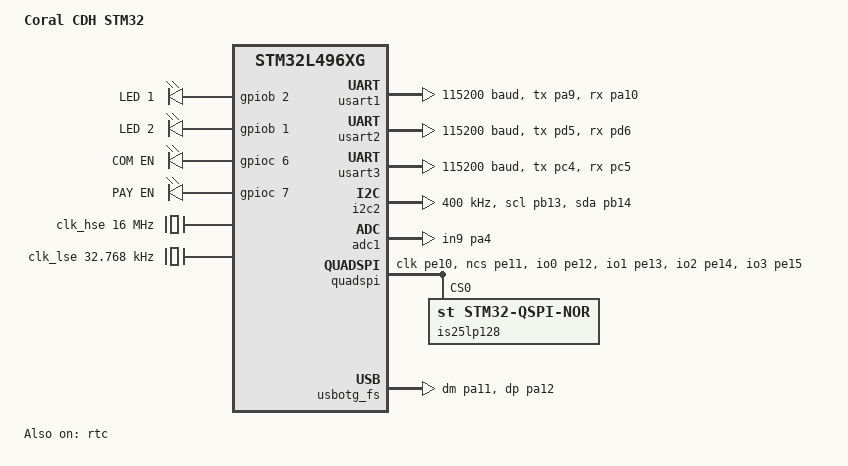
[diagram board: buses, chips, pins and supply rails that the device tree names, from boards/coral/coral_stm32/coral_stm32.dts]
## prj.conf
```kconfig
# USB CDC ACM console
CONFIG_USB_DEVICE_STACK=y
CONFIG_USB_CDC_ACM=y
CONFIG_UART_CONSOLE=n

# USB Virtual COM Port Identity
CONFIG_USB_DEVICE_PRODUCT="Coral CDH Flight Board"
CONFIG_USB_DEVICE_VID=0x1209
CONFIG_USB_DEVICE_PID=0x0001


# Flash
CONFIG_FLASH=y
CONFIG_FLASH_MAP=y
CONFIG_FLASH_PAGE_LAYOUT=y
CONFIG_FLASH_JESD216_API=y
CONFIG_FLASH_STM32_QSPI=y

# UART
CONFIG_SERIAL=y
CONFIG_UART_STM32=y
CONFIG_UART_INTERRUPT_DRIVEN=y
CONFIG_RING_BUFFER=y

# CRC
CONFIG_CRC=y
```

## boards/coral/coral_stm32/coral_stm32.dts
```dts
/dts-v1/;

#include <st/l4/stm32l496Xg.dtsi>
/* Using your original package's pinctrl header to ensure pin availability */
#include <st/l4/stm32l496a(e-g)ix-pinctrl.dtsi>
#include <zephyr/dt-bindings/input/input-event-codes.h>

/ {
    model = "Coral CDH STM32";
    compatible = "coral,stm32";

    chosen {
        /* Routing the console and shell over the USB-C Virtual COM Port */
        zephyr,console = &cdc_acm_uart0;
        zephyr,shell-uart = &cdc_acm_uart0;
        zephyr,uart-mcumgr = &cdc_acm_uart0;
        zephyr,sram = &sram0;
        zephyr,flash = &flash0;
    };

    aliases {
        led0 = &led_1;
        led1 = &led_2;
        com-en = &com_en;
        pay-en = &pay_en;
        
        /* Your explicit UART mapping */
        uart-0 = &cdc_acm_uart0;
        uart-1 = &usart1;
        uart-2 = &usart2;
        uart-3 = &usart3;
        watchdog0 = &iwdg;
    };

    /* Merged your LEDs and EN lines */
    leds {
        compatible = "gpio-leds";
        led_1: led_1 {
            gpios = <&gpiob 2 GPIO_ACTIVE_HIGH>;
            label = "LED 1";
        };
        led_2: led_2 {
            gpios = <&gpiob 1 GPIO_ACTIVE_HIGH>;
            label = "LED 2";
        };
        com_en: com_en {
            gpios = <&gpioc 6 GPIO_ACTIVE_HIGH>;
            label = "COM EN";
        };
        pay_en: pay_en {
            gpios = <&gpioc 7 GPIO_ACTIVE_HIGH>;
            label = "PAY EN";
        };
    };
};

/* --- CLOCK TREE --- */
&clk_hse {
    clock-frequency = <DT_FREQ_M(16)>;
    status = "okay";
};

&clk_lse {
    clock-frequency = <32768>;
    status = "okay";
};

&clk_hsi { status = "okay"; };
&clk_lsi { status = "okay"; };
&clk_hsi48 { status = "okay"; };

&pll {
    div-m = <2>;
    mul-n = <20>;
    div-p = <7>;
    div-q = <2>;
    div-r = <2>;
    clocks = <&clk_hse>;
    status = "okay";
};

// &pllsai1 {
//     div-m = <2>;
//     mul-n = <24>;
//     div-q = <4>;
//     clocks = <&clk_hse>;
//     status = "okay";
// };

&rcc {
    clocks = <&pll>;
    clock-frequency = <DT_FREQ_M(80)>;
    ahb-prescaler = <1>;
    apb1-prescaler = <1>;
    apb2-prescaler = <1>;
};

/* --- PERIPHERALS --- */
&usart1 {
    pinctrl-0 = <&usart1_tx_pa9 &usart1_rx_pa10>;
    pinctrl-names = "default";
    current-speed = <115200>;
    status = "okay";
};

&usart2 {
    pinctrl-0 = <&usart2_tx_pd5 &usart2_rx_pd6>;
    pinctrl-names = "default";
    current-speed = <115200>;
    status = "okay";
};

&usart3 {
    pinctrl-0 = <&usart3_tx_pc4 &usart3_rx_pc5>;
    pinctrl-names = "default";
    current-speed = <115200>;
    status = "okay";
};
&i2c2 {
    pinctrl-0 = <&i2c2_scl_pb13 &i2c2_sda_pb14>;
    pinctrl-names = "default";
    clock-frequency = <I2C_BITRATE_FAST>;
    status = "okay";
};

&rtc {
    clocks = <&rcc STM32_CLOCK(APB1, 28)>,
             <&rcc STM32_SRC_LSE RTC_SEL(1)>;
    status = "okay";
};

&adc1 {
    pinctrl-0 = <&adc1_in9_pa4>;
    pinctrl-names = "default";
    st,adc-clock-source = "SYNC";
    st,adc-prescaler = <4>;
    status = "okay";
};

&quadspi {
    pinctrl-0 = <&quadspi_clk_pe10 &quadspi_bk1_ncs_pe11
                 &quadspi_bk1_io0_pe12 &quadspi_bk1_io1_pe13
                 &quadspi_bk1_io2_pe14 &quadspi_bk1_io3_pe15>;
    pinctrl-names = "default";
    flash-id = <1>;
    status = "okay";

    is25lp128: qspi-nor-flash@0 {
        compatible = "st,stm32-qspi-nor";
        reg = <0>;
        size = <DT_SIZE_M(128)>;
        qspi-max-frequency = <40000000>;
        spi-bus-width = <4>;
        jedec-id = [9d 60 18];
        quad-enable-requirements = "S1B6";
        writeoc = "PP_1_1_4";
        status = "okay";
    };
};

/* --- USB VIRTUAL COM PORT --- */
&usbotg_fs {
    clocks = <&rcc STM32_CLOCK(AHB2, 12)>,
            <&rcc STM32_SRC_HSI48 CLK48_SEL(0)>;
    pinctrl-0 = <&usb_otg_fs_dm_pa11 &usb_otg_fs_dp_pa12>;
    pinctrl-names = "default";
    status = "okay";

    cdc_acm_uart0: cdc_acm_uart0 {
        compatible = "zephyr,cdc-acm-uart";
        current-speed = <115200>;
        
    };
};
```

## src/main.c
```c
/*
 * CDH Image Demo — main.c
 *
 * Receives TAB/OpenLST framed image data over UART1 (hardware UART,
 * same pin as COM board interface), stores it to the IS25LP128 QSPI
 * flash payload region at 0x00115000, and can dump it back over UART1
 * for PC-side reconstruction.
 *
 * USB console (UART0) is used for status/debug printk only.
 * UART1 is the TAB data channel.
 */

#include <zephyr/kernel.h>
#include <zephyr/device.h>
#include <zephyr/drivers/gpio.h>
#include <zephyr/drivers/uart.h>
#include <zephyr/drivers/flash.h>
#include <zephyr/usb/usb_device.h>
#include <zephyr/sys/printk.h>

#include <string.h>
#include <stdbool.h>

/* ------------------------------------------------------------------ */
/*  Hardware                                                           */
/* ------------------------------------------------------------------ */

static const struct gpio_dt_spec led1 =
    GPIO_DT_SPEC_GET(DT_ALIAS(led0), gpios);

static const struct device *uart1;
static const struct device *flash_dev;

/* ------------------------------------------------------------------ */
/*  TAB framing constants                                              */
/* ------------------------------------------------------------------ */

#define TAB_SYNC0           0x22
#define TAB_SYNC1           0x69
#define TAB_CMD_IMG_START   0x51
#define TAB_CMD_IMG_CHUNK   0x50
#define TAB_CMD_IMG_END     0x52
#define TAB_CMD_IMG_REQ     0x53    /* PC requests readback            */
#define TAB_CMD_IMG_ACK     0x54    /* firmware ACK per chunk          */
#define TAB_MAX_MSG         320     /* max bytes in one TAB message    */
#define CHUNK_SIZE          64      /* image bytes per chunk           */

/* ------------------------------------------------------------------ */
/*  Flash layout                                                       */
/* ------------------------------------------------------------------ */

#define SECTOR_SIZE         4096u
#define PAYLOAD_BASE        0x00115000u
#define PAYLOAD_HDR_OFFSET  PAYLOAD_BASE
#define PAYLOAD_DATA_OFFSET (PAYLOAD_BASE + SECTOR_SIZE)
#define PAYLOAD_MAX_DATA    (63u * SECTOR_SIZE)  /* 63 sectors = 252KB */

#define HDR_MAGIC           0xDA7ADA7Au

typedef struct {
    uint32_t magic;
    uint32_t image_id;
    uint32_t total_size;
    uint32_t stored_size;
    uint32_t timestamp_ms;
    uint16_t chunks_total;
    uint16_t chunks_stored;
    uint8_t  format;        /* 0=raw 1=jpeg 2=png                     */
    uint8_t  complete;
    uint8_t  _pad[2];
    uint32_t crc32;
} img_hdr_t;

/* ------------------------------------------------------------------ */
/*  UART RX ring buffer                                                */
/* ------------------------------------------------------------------ */

#define RX_BUF_SIZE 512

static uint8_t  rx_buf[RX_BUF_SIZE];
static uint32_t rx_head = 0;
static uint32_t rx_tail = 0;

static void uart_cb(const struct device *dev, void *user_data)
{
    ARG_UNUSED(user_data);
    if (!uart_irq_update(dev)) return;
    while (uart_irq_rx_ready(dev)) {
        uint8_t c;
        if (uart_fifo_read(dev, &c, 1) == 1) {
            uint32_t next = (rx_head + 1) % RX_BUF_SIZE;
            if (next != rx_tail) {
                rx_buf[rx_head] = c;
                rx_head = next;
            }
        }
    }
}

static bool uart_read_byte(uint8_t *out, uint32_t timeout_ms)
{
    uint32_t deadline = k_uptime_get_32() + timeout_ms;
    while (k_uptime_get_32() < deadline) {
        if (rx_head != rx_tail) {
            *out = rx_buf[rx_tail];
            rx_tail = (rx_tail + 1) % RX_BUF_SIZE;
            return true;
        }
        k_msleep(1);
    }
    return false;
}

/* ------------------------------------------------------------------ */
/*  UART TX helpers                                                    */
/* ------------------------------------------------------------------ */

static void uart_send(const uint8_t *buf, size_t len)
{
    for (size_t i = 0; i < len; i++) {
        uart_poll_out(uart1, buf[i]);
    }
}

/* ------------------------------------------------------------------ */
/*  CRC-16/CCITT                                                       */
/* ------------------------------------------------------------------ */

static uint16_t tab_crc16(const uint8_t *buf, size_t len)
{
    uint16_t crc = 0xFFFF;
    for (size_t i = 0; i < len; i++) {
        crc ^= (uint16_t)buf[i] << 8;
        for (int b = 0; b < 8; b++) {
            crc = (crc & 0x8000) ? (crc << 1) ^ 0x1021 : (crc << 1);
        }
    }
    return crc;
}

/* ------------------------------------------------------------------ */
/*  Header helpers                                                     */
/* ------------------------------------------------------------------ */

static uint32_t hdr_crc(const img_hdr_t *h)
{
    uint32_t c = 0xFFFFFFFF;
    const uint8_t *p = (const uint8_t *)h;
    for (size_t i = 0; i < offsetof(img_hdr_t, crc32); i++) {
        c ^= p[i];
        for (int b = 0; b < 8; b++)
            c = (c & 1) ? (c >> 1) ^ 0xEDB88320 : c >> 1;
    }
    return c ^ 0xFFFFFFFF;
}

static int read_hdr(img_hdr_t *hdr)
{
    int rc = flash_read(flash_dev, PAYLOAD_HDR_OFFSET, hdr, sizeof(*hdr));
    if (rc != 0) return rc;
    if (hdr->magic == 0xFFFFFFFFu) return 1;   /* blank              */
    if (hdr->magic != HDR_MAGIC)   return -EBADMSG;
    if (hdr->crc32 != hdr_crc(hdr)) return -EILSEQ;
    return 0;
}

static int write_hdr(img_hdr_t *hdr)
{
    hdr->magic = HDR_MAGIC;
    hdr->crc32 = hdr_crc(hdr);
    int rc = flash_erase(flash_dev, PAYLOAD_HDR_OFFSET, SECTOR_SIZE);
    if (rc != 0) return rc;
    k_msleep(10);
    return flash_write(flash_dev, PAYLOAD_HDR_OFFSET, hdr, sizeof(*hdr));
}

/* ------------------------------------------------------------------ */
/*  TAB message receive — blocks until full message or timeout        */
/* ------------------------------------------------------------------ */

static int tab_receive(uint8_t *out, size_t out_max, uint32_t timeout_ms)
{
    uint8_t b;

    /* Hunt for sync bytes */
    while (true) {
        if (!uart_read_byte(&b, timeout_ms)) return -ETIMEDOUT;
        if (b != TAB_SYNC0) continue;
        if (!uart_read_byte(&b, 100))        return -ETIMEDOUT;
        if (b == TAB_SYNC0) continue;        /* double sync — retry  */
        if (b != TAB_SYNC1) continue;
        break;
    }

    out[0] = TAB_SYNC0;
    out[1] = TAB_SYNC1;

    /* Read length byte */
    if (!uart_read_byte(&b, 100)) return -ETIMEDOUT;
    out[2] = b;
    uint8_t inner_len = b;

    /* Total message = sync(2) + len(1) + inner_len + crc(2) */
    size_t total = 3u + inner_len + 2u;
    if (total > out_max) return -ENOMEM;

    /* Read remainder */
    for (size_t i = 3; i < total; i++) {
        if (!uart_read_byte(&out[i], 100)) return -ETIMEDOUT;
    }

    /* Verify CRC */
    uint16_t rx_crc  = (uint16_t)out[total - 2] |
                       ((uint16_t)out[total - 1] << 8);
    uint16_t calc_crc = tab_crc16(out + 2, total - 4);
    if (rx_crc != calc_crc) {
        printk("TAB RX: CRC fail rx=0x%04X calc=0x%04X\n",
               rx_crc, calc_crc);
        return -EBADMSG;
    }

    return (int)total;
}

/* ------------------------------------------------------------------ */
/*  Build and send a TAB ACK message                                  */
/* ------------------------------------------------------------------ */

static void tab_send_ack(uint16_t chunk_index, uint8_t status)
{
    uint8_t msg[16];
    /* inner: dst(2)+src(2)+seq(2)+cmd(1)+chunk_index(2)+status(1) = 10 */
    msg[0] = TAB_SYNC0;
    msg[1] = TAB_SYNC1;
    msg[2] = 10;                        /* len                        */
    msg[3] = 0x00; msg[4] = 0x02;      /* dst = payload (0x0002)     */
    msg[5] = 0x00; msg[6] = 0x01;      /* src = CDH    (0x0001)      */
    msg[7] = (uint8_t)(chunk_index);
    msg[8] = (uint8_t)(chunk_index >> 8);
    msg[9] = TAB_CMD_IMG_ACK;
    msg[10] = (uint8_t)(chunk_index);
    msg[11] = (uint8_t)(chunk_index >> 8);
    msg[12] = status;
    uint16_t crc = tab_crc16(msg + 2, 11);
    msg[13] = (uint8_t)(crc);
    msg[14] = (uint8_t)(crc >> 8);
    uart_send(msg, 15);
}

/* ------------------------------------------------------------------ */
/*  Process one received TAB message                                  */
/* ------------------------------------------------------------------ */

static int process_tab(const uint8_t *buf, size_t len)
{
    /* cmd byte is at offset 9 (after sync+len+dst+src+seq) */
    if (len < 12) return -EINVAL;
    uint8_t cmd = buf[9];

    /* data starts after cmd byte, ends before 2-byte CRC */
    const uint8_t *data = buf + 10;
    size_t data_len = len - 12;  /* total - sync(2) - len(1) - hdr(6) - cmd(1) - crc(2) */

    if (cmd == TAB_CMD_IMG_START) {
        /* data: image_id(4) + total_size(4) + chunk_size(2) + format(1) */
        if (data_len < 11) return -EINVAL;
        uint32_t image_id   = (uint32_t)data[0] | ((uint32_t)data[1] << 8) |
                              ((uint32_t)data[2] << 16) | ((uint32_t)data[3] << 24);
        uint32_t total_size = (uint32_t)data[4] | ((uint32_t)data[5] << 8) |
                              ((uint32_t)data[6] << 16) | ((uint32_t)data[7] << 24);
        uint16_t chunk_size = (uint16_t)data[8] | ((uint16_t)data[9] << 8);
        uint8_t  format     = data[10];

        /* Erase header + first data sector */
        flash_erase(flash_dev, PAYLOAD_HDR_OFFSET, SECTOR_SIZE);
        k_msleep(10);
        flash_erase(flash_dev, PAYLOAD_DATA_OFFSET, SECTOR_SIZE);
        k_msleep(10);

        img_hdr_t hdr = {
            .image_id      = image_id,
            .total_size    = total_size,
            .stored_size   = 0,
            .timestamp_ms  = (uint32_t)k_uptime_get(),
            .chunks_total  = (uint16_t)((total_size + chunk_size - 1) / chunk_size),
            .chunks_stored = 0,
            .format        = format,
            .complete      = 0,
        };
        int rc = write_hdr(&hdr);
        printk("IMG START id=0x%08X size=%u fmt=%u rc=%d\n",
               image_id, total_size, format, rc);
        tab_send_ack(0xFFFF, rc == 0 ? 0 : 1);
        return rc;
    }

    if (cmd == TAB_CMD_IMG_CHUNK) {
        /* data: image_id(4) + chunk_index(2) + chunk_data */
        if (data_len < 7) return -EINVAL;
        uint16_t chunk_idx = (uint16_t)data[4] | ((uint16_t)data[5] << 8);
        const uint8_t *chunk_data = data + 6;
        size_t chunk_data_len = data_len - 6;

        img_hdr_t hdr;
        if (read_hdr(&hdr) != 0) { tab_send_ack(chunk_idx, 2); return -ENODATA; }

        off_t write_off = PAYLOAD_DATA_OFFSET + hdr.stored_size;
        if (hdr.stored_size + chunk_data_len > PAYLOAD_MAX_DATA) {
            tab_send_ack(chunk_idx, 3);
            return -ENOSPC;
        }

        /* Erase sector if on boundary */
        if ((write_off % SECTOR_SIZE) == 0) {
            flash_erase(flash_dev, write_off, SECTOR_SIZE);
            k_msleep(5);
        }

        int rc = flash_write(flash_dev, write_off, chunk_data, chunk_data_len);
        if (rc != 0) { tab_send_ack(chunk_idx, 4); return rc; }

        hdr.stored_size   += chunk_data_len;
        hdr.chunks_stored += 1;
        write_hdr(&hdr);

        printk("CHUNK[%u] %u bytes @ 0x%08X (%u/%u)\n",
               chunk_idx, (unsigned)chunk_data_len,
               (unsigned)write_off, hdr.stored_size, hdr.total_size);
        tab_send_ack(chunk_idx, 0);
        return 0;
    }

    if (cmd == TAB_CMD_IMG_END) {
        img_hdr_t hdr;
        if (read_hdr(&hdr) != 0) return -ENODATA;
        hdr.complete = 1;
        int rc = write_hdr(&hdr);
        printk("IMG END — %u/%u bytes stored, complete=%d\n",
               hdr.stored_size, hdr.total_size, rc == 0);
        tab_send_ack(0xFFFE, rc == 0 ? 0 : 1);
        return rc;
    }

    if (cmd == TAB_CMD_IMG_REQ) {
        /* PC is requesting readback — stream all stored bytes back    */
        img_hdr_t hdr;
        int rc = read_hdr(&hdr);
        if (rc == 1) {
            printk("IMG REQ: no image stored\n");
            tab_send_ack(0xFFFD, 5);
            return -ENODATA;
        }
        if (rc != 0) {
            tab_send_ack(0xFFFD, 6);
            return rc;
        }

        printk("IMG REQ: streaming %u bytes back to PC\n", hdr.stored_size);

        static uint8_t chunk_buf[CHUNK_SIZE];
        uint32_t sent = 0;
        uint16_t idx  = 0;

        while (sent < hdr.stored_size) {
            size_t to_read = hdr.stored_size - sent;
            if (to_read > CHUNK_SIZE) to_read = CHUNK_SIZE;

            flash_read(flash_dev, PAYLOAD_DATA_OFFSET + sent,
                       chunk_buf, to_read);

            /* Build and send TAB IMG_CHUNK back to PC */
            uint8_t out[TAB_MAX_MSG];
            uint8_t chunk_hdr[6];
            /* image_id(4) + chunk_idx(2) */
            chunk_hdr[0] = (uint8_t)(hdr.image_id);
            chunk_hdr[1] = (uint8_t)(hdr.image_id >> 8);
            chunk_hdr[2] = (uint8_t)(hdr.image_id >> 16);
            chunk_hdr[3] = (uint8_t)(hdr.image_id >> 24);
            chunk_hdr[4] = (uint8_t)(idx);
            chunk_hdr[5] = (uint8_t)(idx >> 8);

            uint8_t inner_len = 6 + 1 + 6 + (uint8_t)to_read;
            out[0] = TAB_SYNC0; out[1] = TAB_SYNC1;
            out[2] = inner_len;
            out[3] = 0x00; out[4] = 0x02;  /* dst = PC               */
            out[5] = 0x00; out[6] = 0x01;  /* src = CDH              */
            out[7] = (uint8_t)(idx); out[8] = (uint8_t)(idx >> 8);
            out[9] = TAB_CMD_IMG_CHUNK;
            memcpy(out + 10, chunk_hdr, 6);
            memcpy(out + 16, chunk_buf, to_read);
            size_t total = 3u + inner_len + 2u;
            uint16_t crc = tab_crc16(out + 2, total - 4);
            out[total - 2] = (uint8_t)(crc);
            out[total - 1] = (uint8_t)(crc >> 8);
            uart_send(out, total);

            sent += to_read;
            idx++;
            k_msleep(2);  /* small delay to not overwhelm PC buffer   */
        }

        /* Send IMG_END to signal done */
        uint8_t end_msg[14];
        end_msg[0] = TAB_SYNC0; end_msg[1] = TAB_SYNC1;
        end_msg[2] = 8;
        end_msg[3] = 0x00; end_msg[4] = 0x02;
        end_msg[5] = 0x00; end_msg[6] = 0x01;
        end_msg[7] = 0xFF; end_msg[8] = 0xFF;
        end_msg[9] = TAB_CMD_IMG_END;
        end_msg[10] = hdr.format;
        end_msg[11] = (uint8_t)(hdr.stored_size);
        end_msg[12] = (uint8_t)(hdr.stored_size >> 8);
        uint16_t crc = tab_crc16(end_msg + 2, 11);
        end_msg[12] = (uint8_t)(crc);
        end_msg[13] = (uint8_t)(crc >> 8);
        uart_send(end_msg, 14);

        printk("IMG REQ: readback complete, %u chunks sent\n", idx);
        return 0;
    }

    printk("TAB: unknown cmd 0x%02X\n", cmd);
    return -ENOTSUP;
}

/* ------------------------------------------------------------------ */
/*  main                                                               */
/* ------------------------------------------------------------------ */

int main(void)
{
    /* LED */
    if (device_is_ready(led1.port)) {
        gpio_pin_configure_dt(&led1, GPIO_OUTPUT_INACTIVE);
    }

    /* USB console for debug printk */
    if (usb_enable(NULL) == 0) {
        k_msleep(1000);
    }

    printk("\n--- CDH IMAGE DEMO START ---\n");

    /* Flash */
    flash_dev = DEVICE_DT_GET(DT_NODELABEL(is25lp128));
    if (!device_is_ready(flash_dev)) {
        printk("FATAL: flash not ready\n");
        goto spin;
    }
    printk("Flash OK\n");

    /* UART1 — TAB data channel */
    uart1 = DEVICE_DT_GET(DT_NODELABEL(usart2));
    if (!device_is_ready(uart1)) {
        printk("FATAL: UART1 not ready\n");
        goto spin;
    }
    uart_irq_callback_set(uart1, uart_cb);
    uart_irq_rx_enable(uart1);
    printk("UART1 ready — waiting for TAB messages\n");

    /* Check if we already have a stored image from a previous run */
    img_hdr_t hdr;
    int rc = read_hdr(&hdr);
    if (rc == 0) {
        printk("Existing image: id=0x%08X size=%u complete=%s\n",
               hdr.image_id, hdr.stored_size,
               hdr.complete ? "YES" : "NO");
    } else {
        printk("No image stored — send IMG_START to begin\n");
    }

    /* Main loop — wait for TAB messages on UART1 */
    static uint8_t msg_buf[TAB_MAX_MSG];
    while (1) {
        int msg_len = tab_receive(msg_buf, sizeof(msg_buf), 5000);

        if (msg_len == -ETIMEDOUT) {
            /* heartbeat */
            if (device_is_ready(led1.port)) {
                gpio_pin_toggle_dt(&led1);
            }
            continue;
        }

        if (msg_len < 0) {
            printk("TAB RX error %d — discarding\n", msg_len);
            continue;
        }

        process_tab(msg_buf, (size_t)msg_len);
    }

spin:
    while (1) { k_msleep(1000); }
    return 0;
}
```
